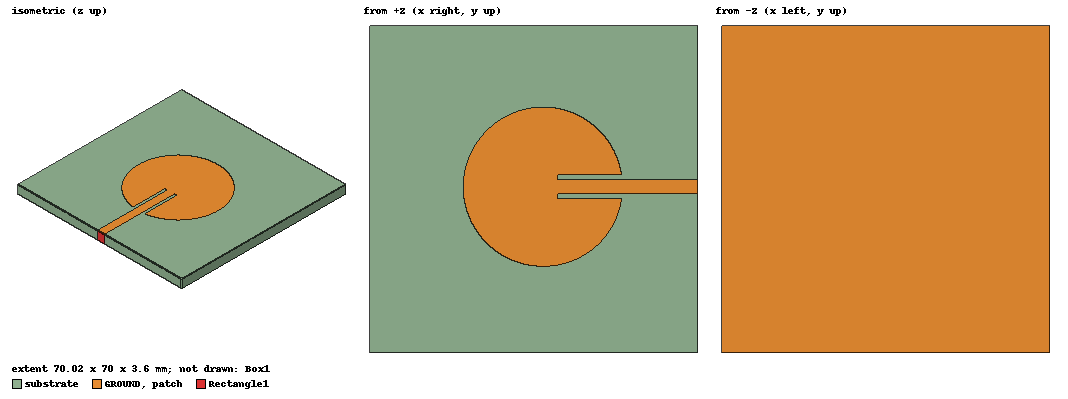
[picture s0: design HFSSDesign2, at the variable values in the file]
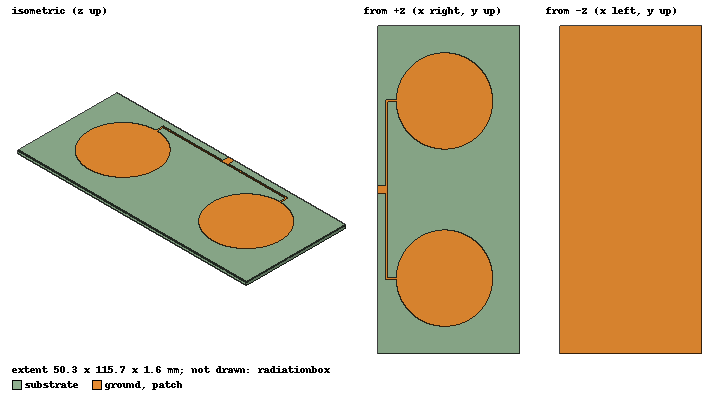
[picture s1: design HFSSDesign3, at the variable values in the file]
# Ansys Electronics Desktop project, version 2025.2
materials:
  vacuum: permittivity=1
  FR4_epoxy: permittivity=4.4 dielectric_loss_tangent=0.02
  copper: permeability=0.999991 conductivity=58000000
  air: permittivity=1.0006 permeability=1.0000004

design HFSSDesign2 (HFSS, HFSS Terminal Network, model units mm)
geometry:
  GROUND = rectangle(corner=(0mm, 0mm, 0mm), x_size=70mm, y_size=70mm)
  substrate [FR4_epoxy] = box(corner=(0mm, 0mm, 0mm), size=(70mm, 70mm, 3.6mm))
  patch = circle(normal=Z, centre=(37mm, 35.5mm, 3.6mm), radius=17mm)
  subtract = rectangle(corner=(40.2mm, 33mm, 3.6mm), x_size=14mm, y_size=5mm)
  patch.subtract(subtract)
  feedline = rectangle(corner=(40.12mm, 34mm, 3.6mm), x_size=29.9mm, y_size=3mm)
  patch.unite(feedline)
  Rectangle1 = rectangle(corner=(70mm, 34mm, 3.6mm), y_size=3mm, z_size=-3.6mm)
  Box1 [air] = box(corner=(-10mm, -10mm, -23mm), size=(90mm, 90mm, 50mm))
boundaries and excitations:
  FiniteCond1: Finite Conductivity Objects=GROUND UseMaterial Material=copper IsInternal
  FiniteCond2: Finite Conductivity Objects=patch UseMaterial Material=copper IsInternal
  Rad1: Radiation Objects=Box1
  Rectangle1_T1: Terminal port=1 Edges=Rectangle1.edge(at (70, 35.5, 3.6)) TerminalResistance=50ohm
  1: Lumped Port Faces=Rectangle1.face LumpedPortType=Terminal Impedance=50ohm
  reference conductors: GROUND
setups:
  Setup1: HfssDriven Frequency=2.45GHz MaxDeltaS=0.02 MaximumPasses=20 MinimumPasses=1 MinimumConvergedPasses=1 PercentRefinement=30 BasisOrder=1 PortAccuracy=2 DrivenSolverType="Direct Solver"
    sweep Sweep: 1GHz to 3GHz, 401 points; Type=Fast SaveFields
  Setup2: HfssDriven Frequency=3.5GHz MaxDeltaS=0.02 MaximumPasses=20 MinimumPasses=1 MinimumConvergedPasses=1 PercentRefinement=30 BasisOrder=1 PortAccuracy=2 DrivenSolverType="Direct Solver"
    sweep Sweep: 1.75GHz to 5.25GHz, 401 points; Type=Fast SaveFields
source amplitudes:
  1:1: 1V 0deg
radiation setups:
  Infinite Sphere1: Infinite Sphere Theta=-180deg..180deg step 2deg Phi=0deg..180deg step 2deg
  Infinite Sphere2: Infinite Sphere Theta=-180deg..180deg step 2deg Phi=0deg..90deg step 90deg
  Infinite Sphere3: Infinite Sphere Theta=0deg..180deg step 2deg Phi=0deg..90deg step 90deg
  Rectangle1: Near Rectangle  Length=20mm Width=20mm LengthSamples=41 WidthSamples=41 CoordSystem=Global
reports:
  Gain Plot1: dB(GainTotal) vs Phi, Theta on Setup1 : LastAdaptive, Infinite Sphere1 [Freq=2.45GHz]
  Directivity Plot1: dB(DirTotal) vs Phi, Theta on Setup1 : LastAdaptive, Infinite Sphere1 [Freq=2.45GHz]
  Gain Plot2: dB(GainTotal) vs Theta on Setup1 : LastAdaptive, Infinite Sphere2 [Phi=all Freq=2.45GHz]
  Terminal VSWR Plot1: dB(VSWRt(Rectangle1_T1)) vs Freq on Setup1 : Sweep
  Terminal S Parameter Plot2: dB(St(Rectangle1_T1,Rectangle1_T1)) vs Freq on Setup1 : Sweep; markers m1 at 2.42GHz
  Directivity Plot2: dB(DirTotal) vs Phi, Theta on Setup1 : LastAdaptive, Infinite Sphere1 [Freq=2.45GHz]
  Realized Gain Plot1: dB(RealizedGainTotal) vs Theta on Setup1 : LastAdaptive, Infinite Sphere1 [Phi=all Freq=2.45GHz]
  Terminal VSWR Plot2: dB(VSWRt(Rectangle1_T1)) vs Freq on Setup1 : Sweep
  Terminal S Parameter Plot3: dB(St(Rectangle1_T1,Rectangle1_T1)) vs Freq on Setup1 : Sweep; markers MX1 at x=1e+09
  Gain Plot3: dB(GainTotal) vs Phi, Theta on Setup1 : LastAdaptive, Infinite Sphere1 [Freq=2.45GHz]
  Terminal S Parameter Plot4: dB(St(Rectangle1_T1,Rectangle1_T1)) vs Freq on Setup1 : Sweep
  Gain Plot4: dB(GainTotal) vs Phi, Theta on Setup1 : LastAdaptive, Infinite Sphere1 [Freq=2.45GHz]
  Directivity Plot3: dB(DirTotal) vs Phi, Theta on Setup1 : LastAdaptive, Infinite Sphere1 [Freq=2.45GHz]
  Realized Gain Plot2: dB(RealizedGainTotal) vs Theta on Setup1 : LastAdaptive, Infinite Sphere1 [Phi=all Freq=2.45GHz]
  Terminal VSWR Plot3: dB(VSWRt(Rectangle1_T1)) vs Freq on Setup1 : Sweep

design HFSSDesign3 (HFSS, HFSS Terminal Network, model units mm)
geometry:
  patch = circle(normal=Z, centre=(0mm, 0mm, 0mm), radius=17mm)
  patch1 = circle(normal=Z, centre=(0mm, 62.5mm, 0mm), radius=17mm)
  Rectangle1 = rectangle(corner=(0mm, 0.35mm, 0mm), x_size=-20mm, y_size=-0.7mm)
  Rectangle2 = rectangle(corner=(0mm, 62.85mm, 0mm), x_size=-20mm, y_size=-0.7mm)
  Rectangle3 = rectangle(corner=(-20mm, -0.35mm, 0mm), x_size=-0.7mm, y_size=63.2mm)
  Rectangle4 = rectangle(corner=(-20.7mm, 29.75mm, 0mm), x_size=-3mm, y_size=3mm)
  patch.unite(patch1, Rectangle1..Rectangle4)
  ground = rectangle(corner=(26.6mm, 89.1mm, -1.6mm), x_size=-50.3mm, y_size=-115.7mm)
  substrate [FR4_epoxy] = box(corner=(26.6mm, 89.1mm, -1.6mm), size=(-50.3mm, -115.7mm, 1.6mm))
  source = rectangle(corner=(-23.7mm, 32.75mm, 0mm), y_size=-3mm, z_size=-1.6mm)
  radiationbox [vacuum] = box(corner=(57.85mm, 120.35mm, 32.85mm), size=(-112.8mm, -178.2mm, -64.1mm))
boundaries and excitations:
  PerfE1: Perfect E Objects=patch
  PerfE2: Perfect E Objects=ground
  Rad1: Radiation Objects=radiationbox
  patch_T1: Terminal port=1 Edges=patch.edge(at (-23.7, 31.25, 0)) TerminalResistance=50ohm
  1: Lumped Port Faces=source.face LumpedPortType=Terminal Impedance=50ohm
  reference conductors: ground
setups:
  Setup1: HfssDriven Frequency=2.4GHz MaxDeltaS=0.02 MaximumPasses=15 MinimumPasses=1 MinimumConvergedPasses=1 PercentRefinement=30 BasisOrder=1 PortAccuracy=2 DrivenSolverType="Direct Solver"
    sweep Sweep: 1GHz to 5GHz, 91 points; Type=Fast SaveFields
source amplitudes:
  1:1: 1V 0deg
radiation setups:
  Infinite Sphere1: Infinite Sphere Theta=-180deg..180deg step 10deg Phi=0deg..360deg step 10deg
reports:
  return loss: dB(St(patch_T1,patch_T1)) vs Freq on Setup1 : Sweep
  vswr: dB(VSWRt(patch_T1)) vs Freq on Setup1 : Sweep
  Gain Plot1: dB(GainTotal) vs Phi, Theta on Setup1 : LastAdaptive, Infinite Sphere1 [Freq=2.4GHz]
  Gain Plot2: dB(GainTotal) vs Phi, Theta on Setup1 : LastAdaptive, Infinite Sphere1 [Freq=2.4GHz]
  FFT vswr: FFT dB(VSWRt(patch_T1)) vs FFT Freq
  Axial Ratio Plot1: dB(AxialRatioValue) vs Theta on Setup1 : LastAdaptive, Infinite Sphere1 [Phi=all Freq=2.4GHz]
  Axial Ratio Plot2: dB(AxialRatioValue) vs Theta on Setup1 : LastAdaptive, Infinite Sphere1 [Phi=all Freq=2.4GHz]
  Axial Ratio Plot3: dB(AxialRatioValue) vs Phi on Setup1 : LastAdaptive, Infinite Sphere1 [Theta=all Freq=2.4GHz]
  Axial Ratio Plot4: dB(AxialRatioValue) vs Freq on Setup1 : LastAdaptive, Infinite Sphere1 [Theta=all Phi=all]
  Directivity Plot1: dB(DirTotal) vs Phi, Theta on Setup1 : LastAdaptive, Infinite Sphere1 [Freq=2.4GHz]
